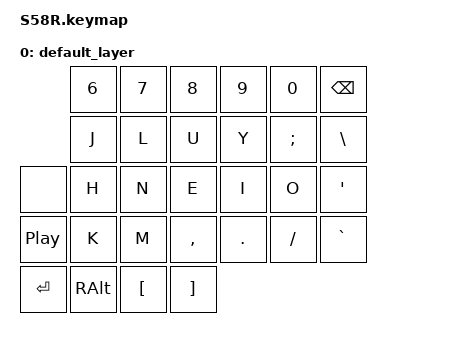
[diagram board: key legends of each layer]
/*
 * Copyright (c) 2022 The ZMK Contributors
 *
 * SPDX-License-Identifier: MIT
 */

#include <behaviors.dtsi>
#include <dt-bindings/zmk/keys.h>
#include <dt-bindings/zmk/bt.h>
#include <dt-bindings/zmk/outputs.h>

/ {
    combos {
        compatible = "zmk,combos";
        combo_0 {
            timeout-ms = <50>;
            key-positions = <4 5 6>;
            bindings = <&bt BT_CLR>;
        };
        combo_1 {
            timeout-ms = <50>;
            key-positions = <1 2>;
            bindings = <&bt BT_SEL 0>;
        };
        combo_2 {
            timeout-ms = <50>;
            key-positions = <7 8 9>;
            bindings = <&bootloader>;
        };
        combo_3 {
            timeout-ms = <50>;
            key-positions = <11 12>;
            bindings = <&sys_reset>;
        };
    };

    keymap {
        compatible = "zmk,keymap";

        default_layer {
            bindings = <
                            &kp N6      &kp N7      &kp N8      &kp N9      &kp N0      &kp BSPC
                            &kp J       &kp L       &kp U       &kp Y       &kp SEMI    &kp BSLH
                &none       &kp H       &kp N       &kp E       &kp I       &kp O       &kp SQT
                &kp C_PP    &kp K       &kp M       &kp COMMA   &kp DOT     &kp FSLH    &kp GRAVE
                &kp RET     &kp RALT    &kp LBKT    &kp RBKT  
            >;
        };
    };
};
